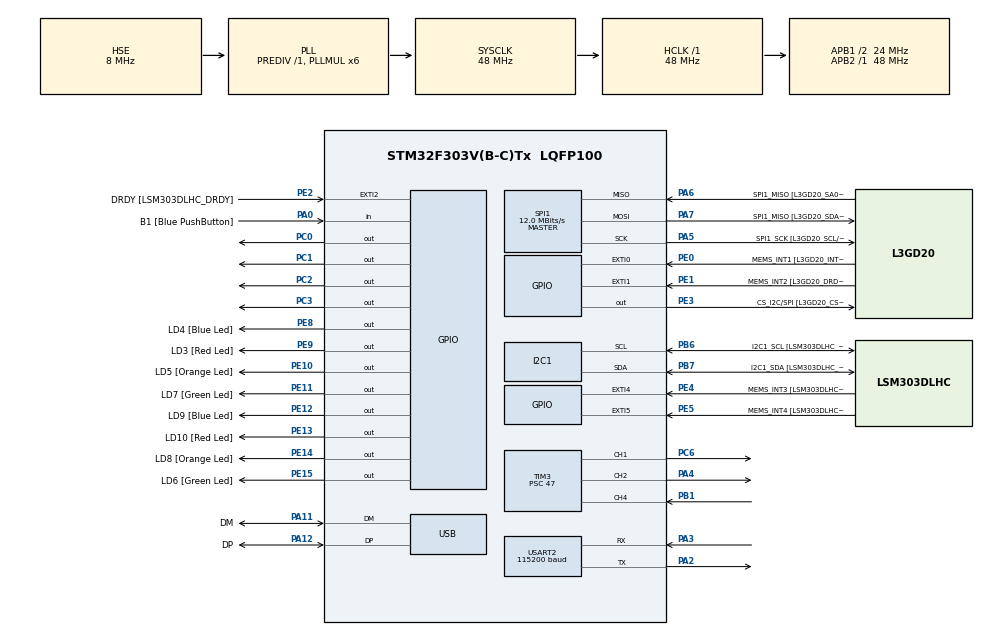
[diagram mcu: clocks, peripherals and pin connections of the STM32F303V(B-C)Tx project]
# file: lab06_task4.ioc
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I2C1.Timing=0x2000090E
I2C1.Timing-I2C=0x2000090E
Mcu.Family=STM32F3
Mcu.Name=STM32F303V(B-C)Tx
Mcu.Package=LQFP100
NVIC.PriorityGroup=NVIC_PRIORITYGROUP_0
PA0.GPIO_Label=B1 [Blue PushButton]
PA0.Signal=GPIO_Input
PA10.Signal=S_TIM2_CH4
PA11.GPIO_Label=DM
PA11.Mode=Device
PA11.Signal=USB_DM
PA12.GPIO_Label=DP
PA12.Mode=Device
PA12.Signal=USB_DP
PA13.GPIO_Label=SWDIO
PA13.Mode=Serial_Wire
PA13.Signal=SYS_JTMS-SWDIO
PA14.GPIO_Label=SWCLK
PA14.Mode=Serial_Wire
PA14.Signal=SYS_JTCK-SWCLK
PA2.Mode=Asynchronous
PA2.Signal=USART2_TX
PA3.Mode=Asynchronous
PA3.Signal=USART2_RX
PA4.Signal=S_TIM3_CH2
PA5.GPIO_Label=SPI1_SCK [L3GD20_SCL/SPC]
PA5.Mode=Full_Duplex_Master
PA5.Signal=SPI1_SCK
PA6.GPIO_Label=SPI1_MISO [L3GD20_SA0/SDO]
PA6.Mode=Full_Duplex_Master
PA6.Signal=SPI1_MISO
PA7.GPIO_Label=SPI1_MISO [L3GD20_SDA/SDI/SDO]
PA7.Mode=Full_Duplex_Master
PA7.Signal=SPI1_MOSI
PB1.Signal=S_TIM3_CH4
PB3.GPIO_Label=SWO
PB3.Signal=SYS_JTDO-TRACESWO
PB6.GPIO_Label=I2C1_SCL [LSM303DLHC_SCL]
PB6.GPIO_Pu=GPIO_PULLUP
PB6.Mode=I2C
PB6.Signal=I2C1_SCL
PB7.GPIO_Label=I2C1_SDA [LSM303DLHC_SDA]
PB7.GPIO_Pu=GPIO_PULLUP
PB7.Mode=I2C
PB7.Signal=I2C1_SDA
PC0.Signal=GPIO_Output
PC1.Signal=GPIO_Output
PC14-OSC32_IN.GPIO_Label=OSC32_IN
PC14-OSC32_IN.Signal=RCC_OSC32_IN
PC15-OSC32_OUT.GPIO_Label=OSC32_OUT
PC15-OSC32_OUT.Signal=RCC_OSC32_OUT
PC2.Signal=GPIO_Output
PC3.Signal=GPIO_Output
PC6.Signal=S_TIM3_CH1
PE0.GPIO_Label=MEMS_INT1 [L3GD20_INT1]
PE0.GPIO_ModeDefaultEXTI=GPIO_MODE_EVT_RISING
PE0.Signal=GPXTI0
PE1.GPIO_Label=MEMS_INT2 [L3GD20_DRDY/INT2]
PE1.GPIO_ModeDefaultEXTI=GPIO_MODE_EVT_RISING
PE1.Signal=GPXTI1
PE10.GPIO_Label=LD5 [Orange Led]
PE10.Signal=GPIO_Output
PE11.GPIO_Label=LD7 [Green Led]
PE11.Signal=GPIO_Output
PE12.GPIO_Label=LD9 [Blue Led]
PE12.Signal=GPIO_Output
PE13.GPIO_Label=LD10 [Red Led]
PE13.Signal=GPIO_Output
PE14.GPIO_Label=LD8 [Orange Led]
PE14.Signal=GPIO_Output
PE15.GPIO_Label=LD6 [Green Led]
PE15.Signal=GPIO_Output
PE2.GPIO_Label=DRDY [LSM303DLHC_DRDY]
PE2.GPIO_ModeDefaultEXTI=GPIO_MODE_EVT_RISING
PE2.Signal=GPXTI2
PE3.GPIO_Label=CS_I2C/SPI [L3GD20_CS_I2C/SPI]
PE3.Signal=GPIO_Output
PE4.GPIO_Label=MEMS_INT3 [LSM303DLHC_INT1]
PE4.GPIO_ModeDefaultEXTI=GPIO_MODE_EVT_RISING
PE4.Signal=GPXTI4
PE5.GPIO_Label=MEMS_INT4 [LSM303DLHC_INT2]
PE5.GPIO_ModeDefaultEXTI=GPIO_MODE_EVT_RISING
PE5.Signal=GPXTI5
PE8.GPIO_Label=LD4 [Blue Led]
PE8.Signal=GPIO_Output
PE9.GPIO_Label=LD3 [Red Led]
PE9.Signal=GPIO_Output
PF0-OSC_IN.GPIO_Label=OSC_IN
PF0-OSC_IN.Mode=HSE-External-Clock-Source
PF0-OSC_IN.Signal=RCC_OSC_IN
PF1-OSC_OUT.GPIO_Label=OSC_OUT
PF1-OSC_OUT.Signal=RCC_OSC_OUT
ProjectManager.HeapSize=0x200
ProjectManager.StackSize=0x400
ProjectManager.TargetToolchain=CMake
RCC.AHBFreq_Value=48000000
RCC.APB1CLKDivider=RCC_HCLK_DIV2
RCC.APB1Freq_Value=24000000
RCC.APB1TimFreq_Value=48000000
RCC.APB2Freq_Value=48000000
RCC.APB2TimFreq_Value=48000000
RCC.CortexFreq_Value=48000000
RCC.HCLKFreq_Value=48000000
RCC.HSE_VALUE=8000000
RCC.HSI_VALUE=8000000
RCC.LSE_VALUE=32768
RCC.PLLMUL=RCC_PLL_MUL6
RCC.SYSCLKFreq_VALUE=48000000
RCC.SYSCLKSourceVirtual=RCC_SYSCLKSOURCE_PLLCLK
RCC.USBFreq_Value=48000000
SH.S_TIM2_CH4.0=TIM2_CH4
SH.S_TIM3_CH1.0=TIM3_CH1,PWM Generation1 CH1
SH.S_TIM3_CH2.0=TIM3_CH2,PWM Generation2 CH2
SH.S_TIM3_CH4.0=TIM3_CH4,Input_Capture4_from_TI4
SPI1.BaudRatePrescaler=SPI_BAUDRATEPRESCALER_4
SPI1.BaudRatePrescaler-Full_Duplex_Master=SPI_BAUDRATEPRESCALER_2
SPI1.CalculateBaudRate=12.0 MBits/s
SPI1.CalculateBaudRate-Full_Duplex_Master=24.0 MBits/s
SPI1.Direction=SPI_DIRECTION_2LINES
SPI1.Mode=SPI_MODE_MASTER
SPI1.Mode-Full_Duplex_Master=SPI_MODE_MASTER
SPI1.VirtualType=VM_MASTER
TIM3.Channel-Input_Capture4_from_TI4=TIM_CHANNEL_4
TIM3.Channel-PWM\ Generation1\ CH1=TIM_CHANNEL_1
TIM3.Channel-PWM\ Generation2\ CH2=TIM_CHANNEL_2
TIM3.Prescaler=47
USART2.BaudRate=115200
USART2.VirtualMode-Asynchronous=VM_ASYNC
VP_TIM3_VS_ClockSourceINT.Mode=Internal
board=STM32F3DISCOVERY

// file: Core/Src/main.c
/* USER CODE BEGIN Header */
/**
  ******************************************************************************
  * @file           : main.c
  * @brief          : Main program body
  ******************************************************************************
  * @attention
  *
  * Copyright (c) 2026 STMicroelectronics.
  * All rights reserved.
  *
  * This software is licensed under terms that can be found in the LICENSE file
  * in the root directory of this software component.
  * If no LICENSE file comes with this software, it is provided AS-IS.
  *
  ******************************************************************************
  */
/* USER CODE END Header */

/* USER CODE BEGIN Includes */
#include "main.h"
#include "stm32f3xx_hal.h"
#include <stdio.h>
#include <stdarg.h>
#include <string.h>
/* USER CODE END Includes */

I2C_HandleTypeDef hi2c1;

SPI_HandleTypeDef hspi1;

TIM_HandleTypeDef htim3;

UART_HandleTypeDef huart2;

PCD_HandleTypeDef hpcd_USB_FS;

/* USER CODE BEGIN PV */
#define TIMER_HZ 1000000UL
#define PPR      330.0f
volatile uint32_t ic_val1 = 0;
volatile uint32_t ic_val2 = 0;
volatile uint32_t ic_period = 0;
volatile uint8_t  ic_ready = 0;
volatile uint8_t  first_capture = 1;

/* USER CODE END PV */

void SystemClock_Config(void);
static void MX_GPIO_Init(void);
static void MX_I2C1_Init(void);
static void MX_SPI1_Init(void);
static void MX_TIM3_Init(void);
static void MX_USART2_UART_Init(void);
static void MX_USB_PCD_Init(void);
/* USER CODE BEGIN PFP */
// ===== MOTOR A (TIM3_CH1) =====
#define MOTOR_A_FORWARD()   do { \
  HAL_GPIO_WritePin(GPIOC, GPIO_PIN_0, GPIO_PIN_SET); \
  HAL_GPIO_WritePin(GPIOC, GPIO_PIN_1, GPIO_PIN_RESET); \
} while(0)

// ===== MOTOR B (TIM3_CH2) =====
#define MOTOR_B_FORWARD()   do { \
  HAL_GPIO_WritePin(GPIOC, GPIO_PIN_2, GPIO_PIN_SET); \
  HAL_GPIO_WritePin(GPIOC, GPIO_PIN_3, GPIO_PIN_RESET); \
} while(0)

// ===== BOTH =====
#define BOTH_MOTORS_FORWARD()  do { MOTOR_A_FORWARD(); MOTOR_B_FORWARD(); } while(0)

void Motor_A_SetSpeed(uint8_t speed_percent)
{
    if (speed_percent > 100) speed_percent = 100;
    uint16_t pwm = (speed_percent * 999) / 100;
    __HAL_TIM_SET_COMPARE(&htim3, TIM_CHANNEL_1, pwm);
}

void Motor_B_SetSpeed(uint8_t speed_percent)
{
    if (speed_percent > 100) speed_percent = 100;
    uint16_t pwm = (speed_percent * 999) / 100;
    __HAL_TIM_SET_COMPARE(&htim3, TIM_CHANNEL_2, pwm);
}

void Both_Motors_SetSpeed(uint8_t speed_percent)
{
    Motor_A_SetSpeed(speed_percent);
    Motor_B_SetSpeed(speed_percent);
}
/* USER CODE END PFP */

/* USER CODE BEGIN 0 */
void myPrintf(const char *fmt, ...)
{
    char buffer[100];
    va_list args;
    va_start(args, fmt);
    vsnprintf(buffer, sizeof(buffer), fmt, args);
    va_end(args);
    HAL_UART_Transmit(&huart2, (uint8_t*)buffer, strlen(buffer), HAL_MAX_DELAY);
}

static uint32_t timer_diff(uint32_t t1, uint32_t t2)
{
  if (t2 >= t1) return (t2 - t1);
  return ((htim3.Instance->ARR + 1U) - t1 + t2);
}
static uint8_t wait_falling_edge_timeout(uint32_t timeout_ms)
{
    uint32_t start = HAL_GetTick();

    while (HAL_GPIO_ReadPin(GPIOA, GPIO_PIN_10) == GPIO_PIN_RESET) {
        if (HAL_GetTick() - start > timeout_ms) return 0;
    }

    while (HAL_GPIO_ReadPin(GPIOA, GPIO_PIN_10) == GPIO_PIN_SET) {
        if (HAL_GetTick() - start > timeout_ms) return 0;
    }

    return 1;
}

/* USER CODE END 0 */

int main(void)
{

  /* MCU Configuration--------------------------------------------------------*/

  /* Reset of all peripherals, Initializes the Flash interface and the Systick. */
  HAL_Init();

  /* Configure the system clock */
  SystemClock_Config();

  /* Initialize all configured peripherals */
  MX_GPIO_Init();
  MX_I2C1_Init();
  MX_SPI1_Init();
  MX_TIM3_Init();
  MX_USART2_UART_Init();
  MX_USB_PCD_Init();
  /* USER CODE BEGIN 2 */
  HAL_TIM_Base_Start(&htim3);
  HAL_TIM_IC_Start_IT(&htim3, TIM_CHANNEL_1);

  myPrintf("TIM2 Input Capture Started\r\n");
  /* USER CODE END 2 */

  /* Infinite loop */
  /* USER CODE BEGIN WHILE */
  while (1)
  {
  HAL_TIM_Base_Start(&htim3);
  HAL_TIM_PWM_Start(&htim3, TIM_CHANNEL_1);
  HAL_TIM_PWM_Start(&htim3, TIM_CHANNEL_2);

  BOTH_MOTORS_FORWARD();
  Both_Motors_SetSpeed(100);
    /* USER CODE END WHILE */

    /* USER CODE BEGIN 3 */
    if (!wait_falling_edge_timeout(500))
{
    myPrintf("No encoder pulse!\r\n");
    HAL_Delay(500);
}
    else{
    uint32_t t1 = __HAL_TIM_GET_COUNTER(&htim3);

    if (!wait_falling_edge_timeout(500))
    {
        myPrintf("No encoder pulse!\r\n");
        HAL_Delay(500);
    }
    else
    {
        uint32_t t2 = __HAL_TIM_GET_COUNTER(&htim3);

        uint32_t dt = timer_diff(t1, t2);

        if (dt > 0)
        {
            float freq = (float)TIMER_HZ / dt;
            float rpm  = (60.0f * freq) / PPR;

            myPrintf("dt = %lu us | RPM = %.2f\r\n", dt, rpm);

            HAL_Delay(100);
        }
    }
}
  }
  /* USER CODE END 3 */
}

void SystemClock_Config(void)
{
  RCC_OscInitTypeDef RCC_OscInitStruct = {0};
  RCC_ClkInitTypeDef RCC_ClkInitStruct = {0};
  RCC_PeriphCLKInitTypeDef PeriphClkInit = {0};

  /** Initializes the RCC Oscillators according to the specified parameters
  * in the RCC_OscInitTypeDef structure.
  */
  RCC_OscInitStruct.OscillatorType = RCC_OSCILLATORTYPE_HSI|RCC_OSCILLATORTYPE_HSE;
  RCC_OscInitStruct.HSEState = RCC_HSE_BYPASS;
  RCC_OscInitStruct.HSEPredivValue = RCC_HSE_PREDIV_DIV1;
  RCC_OscInitStruct.HSIState = RCC_HSI_ON;
  RCC_OscInitStruct.HSICalibrationValue = RCC_HSICALIBRATION_DEFAULT;
  RCC_OscInitStruct.PLL.PLLState = RCC_PLL_ON;
  RCC_OscInitStruct.PLL.PLLSource = RCC_PLLSOURCE_HSE;
  RCC_OscInitStruct.PLL.PLLMUL = RCC_PLL_MUL6;
  if (HAL_RCC_OscConfig(&RCC_OscInitStruct) != HAL_OK)
  {
    Error_Handler();
  }

  /** Initializes the CPU, AHB and APB buses clocks
  */
  RCC_ClkInitStruct.ClockType = RCC_CLOCKTYPE_HCLK|RCC_CLOCKTYPE_SYSCLK
                              |RCC_CLOCKTYPE_PCLK1|RCC_CLOCKTYPE_PCLK2;
  RCC_ClkInitStruct.SYSCLKSource = RCC_SYSCLKSOURCE_PLLCLK;
  RCC_ClkInitStruct.AHBCLKDivider = RCC_SYSCLK_DIV1;
  RCC_ClkInitStruct.APB1CLKDivider = RCC_HCLK_DIV2;
  RCC_ClkInitStruct.APB2CLKDivider = RCC_HCLK_DIV1;

  if (HAL_RCC_ClockConfig(&RCC_ClkInitStruct, FLASH_LATENCY_1) != HAL_OK)
  {
    Error_Handler();
  }
  PeriphClkInit.PeriphClockSelection = RCC_PERIPHCLK_USB|RCC_PERIPHCLK_USART2
                              |RCC_PERIPHCLK_I2C1;
  PeriphClkInit.Usart2ClockSelection = RCC_USART2CLKSOURCE_PCLK1;
  PeriphClkInit.I2c1ClockSelection = RCC_I2C1CLKSOURCE_HSI;
  PeriphClkInit.USBClockSelection = RCC_USBCLKSOURCE_PLL;
  if (HAL_RCCEx_PeriphCLKConfig(&PeriphClkInit) != HAL_OK)
  {
    Error_Handler();
  }
}

static void MX_I2C1_Init(void)
{

  hi2c1.Instance = I2C1;
  hi2c1.Init.Timing = 0x2000090E;
  hi2c1.Init.OwnAddress1 = 0;
  hi2c1.Init.AddressingMode = I2C_ADDRESSINGMODE_7BIT;
  hi2c1.Init.DualAddressMode = I2C_DUALADDRESS_DISABLE;
  hi2c1.Init.OwnAddress2 = 0;
  hi2c1.Init.OwnAddress2Masks = I2C_OA2_NOMASK;
  hi2c1.Init.GeneralCallMode = I2C_GENERALCALL_DISABLE;
  hi2c1.Init.NoStretchMode = I2C_NOSTRETCH_DISABLE;
  if (HAL_I2C_Init(&hi2c1) != HAL_OK)
  {
    Error_Handler();
  }

  /** Configure Analogue filter
  */
  if (HAL_I2CEx_ConfigAnalogFilter(&hi2c1, I2C_ANALOGFILTER_ENABLE) != HAL_OK)
  {
    Error_Handler();
  }

  /** Configure Digital filter
  */
  if (HAL_I2CEx_ConfigDigitalFilter(&hi2c1, 0) != HAL_OK)
  {
    Error_Handler();
  }

}

static void MX_SPI1_Init(void)
{

  /* SPI1 parameter configuration*/
  hspi1.Instance = SPI1;
  hspi1.Init.Mode = SPI_MODE_MASTER;
  hspi1.Init.Direction = SPI_DIRECTION_2LINES;
  hspi1.Init.DataSize = SPI_DATASIZE_4BIT;
  hspi1.Init.CLKPolarity = SPI_POLARITY_LOW;
  hspi1.Init.CLKPhase = SPI_PHASE_1EDGE;
  hspi1.Init.NSS = SPI_NSS_SOFT;
  hspi1.Init.BaudRatePrescaler = SPI_BAUDRATEPRESCALER_4;
  hspi1.Init.FirstBit = SPI_FIRSTBIT_MSB;
  hspi1.Init.TIMode = SPI_TIMODE_DISABLE;
  hspi1.Init.CRCCalculation = SPI_CRCCALCULATION_DISABLE;
  hspi1.Init.CRCPolynomial = 7;
  hspi1.Init.CRCLength = SPI_CRC_LENGTH_DATASIZE;
  hspi1.Init.NSSPMode = SPI_NSS_PULSE_ENABLE;
  if (HAL_SPI_Init(&hspi1) != HAL_OK)
  {
    Error_Handler();
  }

}

static void MX_TIM3_Init(void)
{

  TIM_ClockConfigTypeDef sClockSourceConfig = {0};
  TIM_MasterConfigTypeDef sMasterConfig = {0};
  TIM_OC_InitTypeDef sConfigOC = {0};
  TIM_IC_InitTypeDef sConfigIC = {0};

  htim3.Instance = TIM3;
  htim3.Init.Prescaler = 47;
  htim3.Init.CounterMode = TIM_COUNTERMODE_UP;
  htim3.Init.Period = 999;
  htim3.Init.ClockDivision = TIM_CLOCKDIVISION_DIV1;
  htim3.Init.AutoReloadPreload = TIM_AUTORELOAD_PRELOAD_DISABLE;
  if (HAL_TIM_Base_Init(&htim3) != HAL_OK)
  {
    Error_Handler();
  }
  sClockSourceConfig.ClockSource = TIM_CLOCKSOURCE_INTERNAL;
  if (HAL_TIM_ConfigClockSource(&htim3, &sClockSourceConfig) != HAL_OK)
  {
    Error_Handler();
  }
  if (HAL_TIM_PWM_Init(&htim3) != HAL_OK)
  {
    Error_Handler();
  }
  if (HAL_TIM_IC_Init(&htim3) != HAL_OK)
  {
    Error_Handler();
  }
  sMasterConfig.MasterOutputTrigger = TIM_TRGO_RESET;
  sMasterConfig.MasterSlaveMode = TIM_MASTERSLAVEMODE_DISABLE;
  if (HAL_TIMEx_MasterConfigSynchronization(&htim3, &sMasterConfig) != HAL_OK)
  {
    Error_Handler();
  }
  sConfigOC.OCMode = TIM_OCMODE_PWM1;
  sConfigOC.Pulse = 0;
  sConfigOC.OCPolarity = TIM_OCPOLARITY_HIGH;
  sConfigOC.OCFastMode = TIM_OCFAST_DISABLE;
  if (HAL_TIM_PWM_ConfigChannel(&htim3, &sConfigOC, TIM_CHANNEL_1) != HAL_OK)
  {
    Error_Handler();
  }
  if (HAL_TIM_PWM_ConfigChannel(&htim3, &sConfigOC, TIM_CHANNEL_2) != HAL_OK)
  {
    Error_Handler();
  }
  sConfigIC.ICPolarity = TIM_INPUTCHANNELPOLARITY_RISING;
  sConfigIC.ICSelection = TIM_ICSELECTION_DIRECTTI;
  sConfigIC.ICPrescaler = TIM_ICPSC_DIV1;
  sConfigIC.ICFilter = 0;
  if (HAL_TIM_IC_ConfigChannel(&htim3, &sConfigIC, TIM_CHANNEL_4) != HAL_OK)
  {
    Error_Handler();
  }
  HAL_TIM_MspPostInit(&htim3);

}

static void MX_USART2_UART_Init(void)
{

  huart2.Instance = USART2;
  huart2.Init.BaudRate = 115200;
  huart2.Init.WordLength = UART_WORDLENGTH_8B;
  huart2.Init.StopBits = UART_STOPBITS_1;
  huart2.Init.Parity = UART_PARITY_NONE;
  huart2.Init.Mode = UART_MODE_TX_RX;
  huart2.Init.HwFlowCtl = UART_HWCONTROL_NONE;
  huart2.Init.OverSampling = UART_OVERSAMPLING_16;
  huart2.Init.OneBitSampling = UART_ONE_BIT_SAMPLE_DISABLE;
  huart2.AdvancedInit.AdvFeatureInit = UART_ADVFEATURE_NO_INIT;
  if (HAL_UART_Init(&huart2) != HAL_OK)
  {
    Error_Handler();
  }

}

static void MX_USB_PCD_Init(void)
{

  hpcd_USB_FS.Instance = USB;
  hpcd_USB_FS.Init.dev_endpoints = 8;
  hpcd_USB_FS.Init.speed = PCD_SPEED_FULL;
  hpcd_USB_FS.Init.phy_itface = PCD_PHY_EMBEDDED;
  hpcd_USB_FS.Init.low_power_enable = DISABLE;
  hpcd_USB_FS.Init.battery_charging_enable = DISABLE;
  if (HAL_PCD_Init(&hpcd_USB_FS) != HAL_OK)
  {
    Error_Handler();
  }

}

static void MX_GPIO_Init(void)
{
  GPIO_InitTypeDef GPIO_InitStruct = {0};

  /* GPIO Ports Clock Enable */
  __HAL_RCC_GPIOE_CLK_ENABLE();
  __HAL_RCC_GPIOC_CLK_ENABLE();
  __HAL_RCC_GPIOF_CLK_ENABLE();
  __HAL_RCC_GPIOA_CLK_ENABLE();
  __HAL_RCC_GPIOB_CLK_ENABLE();

  /*Configure GPIO pin Output Level */
  HAL_GPIO_WritePin(GPIOE, CS_I2C_SPI_Pin|LD4_Pin|LD3_Pin|LD5_Pin
                          |LD7_Pin|LD9_Pin|LD10_Pin|LD8_Pin
                          |LD6_Pin, GPIO_PIN_RESET);

  /*Configure GPIO pin Output Level */
  HAL_GPIO_WritePin(GPIOC, GPIO_PIN_0|GPIO_PIN_1|GPIO_PIN_2|GPIO_PIN_3, GPIO_PIN_RESET);

  /*Configure GPIO pins : DRDY_Pin MEMS_INT3_Pin MEMS_INT4_Pin MEMS_INT1_Pin
                           MEMS_INT2_Pin */
  GPIO_InitStruct.Pin = DRDY_Pin|MEMS_INT3_Pin|MEMS_INT4_Pin|MEMS_INT1_Pin
                          |MEMS_INT2_Pin;
  GPIO_InitStruct.Mode = GPIO_MODE_EVT_RISING;
  GPIO_InitStruct.Pull = GPIO_NOPULL;
  HAL_GPIO_Init(GPIOE, &GPIO_InitStruct);

  /*Configure GPIO pins : CS_I2C_SPI_Pin LD4_Pin LD3_Pin LD5_Pin
                           LD7_Pin LD9_Pin LD10_Pin LD8_Pin
                           LD6_Pin */
  GPIO_InitStruct.Pin = CS_I2C_SPI_Pin|LD4_Pin|LD3_Pin|LD5_Pin
                          |LD7_Pin|LD9_Pin|LD10_Pin|LD8_Pin
                          |LD6_Pin;
  GPIO_InitStruct.Mode = GPIO_MODE_OUTPUT_PP;
  GPIO_InitStruct.Pull = GPIO_NOPULL;
  GPIO_InitStruct.Speed = GPIO_SPEED_FREQ_LOW;
  HAL_GPIO_Init(GPIOE, &GPIO_InitStruct);

  /*Configure GPIO pins : PC0 PC1 PC2 PC3 */
  GPIO_InitStruct.Pin = GPIO_PIN_0|GPIO_PIN_1|GPIO_PIN_2|GPIO_PIN_3;
  GPIO_InitStruct.Mode = GPIO_MODE_OUTPUT_PP;
  GPIO_InitStruct.Pull = GPIO_NOPULL;
  GPIO_InitStruct.Speed = GPIO_SPEED_FREQ_LOW;
  HAL_GPIO_Init(GPIOC, &GPIO_InitStruct);

  /*Configure GPIO pin : B1_Pin */
  GPIO_InitStruct.Pin = B1_Pin;
  GPIO_InitStruct.Mode = GPIO_MODE_INPUT;
  GPIO_InitStruct.Pull = GPIO_NOPULL;
  HAL_GPIO_Init(B1_GPIO_Port, &GPIO_InitStruct);

  /*Configure GPIO pin : PA10 */
  GPIO_InitStruct.Pin = GPIO_PIN_10;
  GPIO_InitStruct.Mode = GPIO_MODE_AF_PP;
  GPIO_InitStruct.Pull = GPIO_NOPULL;
  GPIO_InitStruct.Speed = GPIO_SPEED_FREQ_LOW;
  GPIO_InitStruct.Alternate = GPIO_AF10_TIM2;
  HAL_GPIO_Init(GPIOA, &GPIO_InitStruct);

}

/* USER CODE BEGIN 4 */
void HAL_TIM_IC_CaptureCallback(TIM_HandleTypeDef *htim)
{
    if (htim->Instance == TIM2 &&
        htim->Channel == HAL_TIM_ACTIVE_CHANNEL_1)
    {
        if (first_capture)
        {
            ic_val1 = HAL_TIM_ReadCapturedValue(htim, TIM_CHANNEL_1);
            first_capture = 0;
        }
        else
        {
            ic_val2 = HAL_TIM_ReadCapturedValue(htim, TIM_CHANNEL_1);

            if (ic_val2 >= ic_val1)
                ic_period = ic_val2 - ic_val1;
            else
                ic_period = (0xFFFFFFFF - ic_val1) + ic_val2 + 1;

            ic_val1 = ic_val2;
            ic_ready = 1;
        }
    }
}
/* USER CODE END 4 */

void Error_Handler(void)
{
  /* USER CODE BEGIN Error_Handler_Debug */
  /* User can add his own implementation to report the HAL error return state */
  __disable_irq();
  while (1)
  {if (ic_ready){
      ic_ready = 0;

      if (ic_period > 0)
      {
          float frequency = 1000000.0f / (float)ic_period;
          float rpm = (60.0f * frequency) / (float)PPR;

          myPrintf("IC Period: %lu us | Freq: %.2f Hz | RPM: %.2f\r\n",
                  ic_period, frequency, rpm);
      }
    }
  }
  /* USER CODE END Error_Handler_Debug */
}
